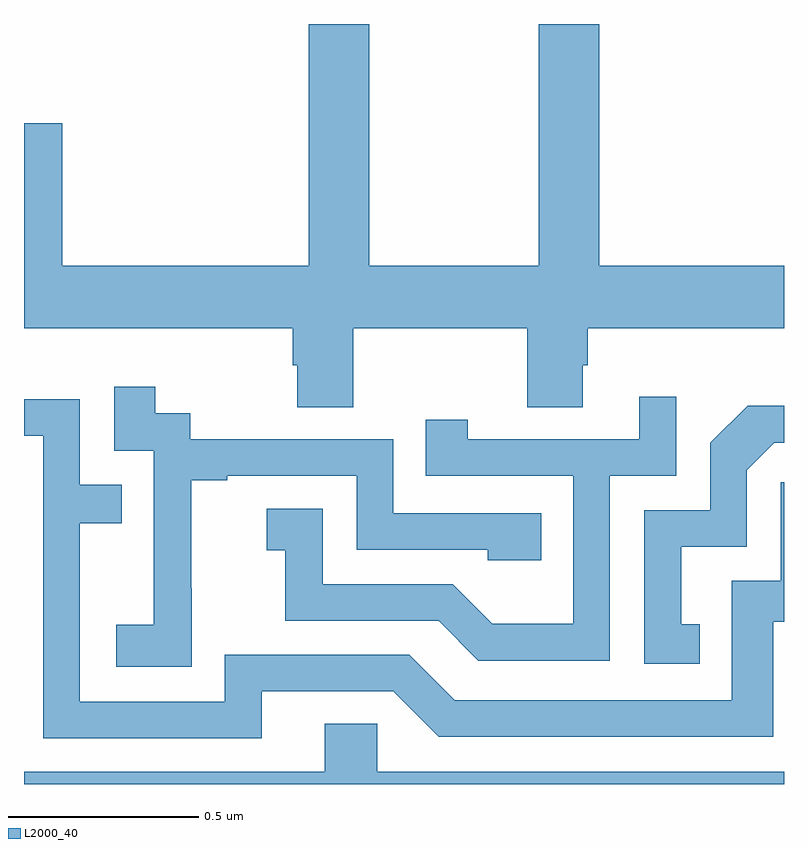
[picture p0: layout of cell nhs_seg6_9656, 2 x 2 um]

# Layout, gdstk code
import gdstk
lib = gdstk.Library(unit=1e-6, precision=1e-09)
def P(c, l, *ps):  # polygons
    for p in ps: c.add(gdstk.Polygon(p, *l))
L2000_40 = (2000, 40)

nhs_seg6_9656 = lib.new_cell('nhs_seg6_9656')
P(nhs_seg6_9656, L2000_40, [(237.867,916.7),(238.324,916.7),(238.324,916.492),(238.471,916.492),(238.471,916.602),(238.484,916.602),(238.484,916.7),(239,916.7),(239,916.864),(238.514,916.864),(238.514,917.5),(238.354,917.5),(238.354,916.864),(237.909,916.864),(237.909,917.5),(237.749,917.5),(237.749,916.864),(237.1,916.864),(237.1,917.239),(237,917.239),(237,916.7),(237.707,916.7),(237.707,916.602),(237.719,916.602),(237.719,916.492),(237.867,916.492)],
  [(237.441,916.015),(237.44,916.015),(237.44,916.299),(237.535,916.299),(237.535,916.311),(237.876,916.311),(237.876,916.116),(238.221,916.116),(238.221,916.089),(238.361,916.089),(238.361,916.212),(237.972,916.212),(237.972,916.407),(237.438,916.407),(237.438,916.476),(237.346,916.476),(237.346,916.546),(237.237,916.546),(237.237,916.377),(237.342,916.377),(237.342,916.148),(237.341,916.148),(237.341,915.919),(237.243,915.919),(237.243,915.809),(237.441,915.809)],
  [(238.542,916.311),(238.716,916.311),(238.716,916.519),(238.619,916.519),(238.619,916.407),(238.168,916.407),(238.168,916.459),(238.057,916.459),(238.057,916.311),(238.446,916.311),(238.446,915.922),(238.232,915.922),(238.128,916.026),(237.786,916.026),(237.786,916.225),(237.639,916.225),(237.639,916.115),(237.688,916.115),(237.688,915.93),(238.091,915.93),(238.196,915.825),(238.542,915.825)],
  [(237.625,915.744),(237.972,915.744),(238.092,915.624),(238.972,915.624),(238.972,915.927),(239,915.927),(239,916.294),(238.992,916.294),(238.992,916.035),(238.863,916.035),(238.863,915.72),(238.134,915.72),(238.014,915.84),(237.528,915.84),(237.528,915.717),(237.147,915.717),(237.147,916.186),(237.257,916.186),(237.257,916.287),(237.147,916.287),(237.147,916.512),(237,916.512),(237,916.416),(237.051,916.416),(237.051,915.621),(237.625,915.621)],
  [(238.778,915.921),(238.729,915.921),(238.729,916.125),(238.902,916.125),(238.902,916.326),(238.974,916.398),(239,916.398),(239,916.496),(238.904,916.496),(238.806,916.398),(238.806,916.221),(238.632,916.221),(238.632,915.816),(238.778,915.816)],
  [(239,915.532),(237.93,915.532),(237.93,915.659),(237.791,915.659),(237.791,915.532),(237,915.532),(237,915.5),(239,915.5)])

lib.write_gds('nhs_seg6_9656.gds')
